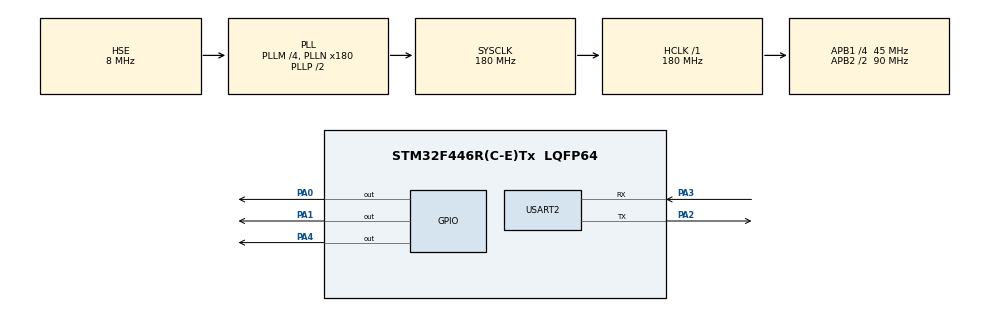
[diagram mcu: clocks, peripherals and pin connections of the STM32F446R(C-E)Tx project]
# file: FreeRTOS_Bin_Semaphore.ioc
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FREERTOS.BinarySemaphores01=myBinarySem01,Dynamic,NULL
FREERTOS.Tasks01=myTask1,2,128,StartTask1,Default,NULL,Dynamic,NULL,NULL;myTask2,0,128,StartTask2,Default,NULL,Dynamic,NULL,NULL;myTask3,-2,128,StartTask3,Default,NULL,Dynamic,NULL,NULL
FREERTOS.configUSE_NEWLIB_REENTRANT=1
Mcu.Family=STM32F4
Mcu.Name=STM32F446R(C-E)Tx
Mcu.Package=LQFP64
NVIC.PriorityGroup=NVIC_PRIORITYGROUP_4
NVIC.TIM6_DAC_IRQn=true\:15\:0\:false\:false\:true\:false\:false\:true\:true
NVIC.TimeBase=TIM6_DAC_IRQn
NVIC.TimeBaseIP=TIM6
PA0-WKUP.Signal=GPIO_Output
PA1.Signal=GPIO_Output
PA13.Mode=Serial_Wire
PA13.Signal=SYS_JTMS-SWDIO
PA14.Mode=Serial_Wire
PA14.Signal=SYS_JTCK-SWCLK
PA2.Mode=Asynchronous
PA2.Signal=USART2_TX
PA3.Mode=Asynchronous
PA3.Signal=USART2_RX
PA4.Signal=GPIO_Output
PH0-OSC_IN.Mode=HSE-External-Oscillator
PH0-OSC_IN.Signal=RCC_OSC_IN
PH1-OSC_OUT.Mode=HSE-External-Oscillator
PH1-OSC_OUT.Signal=RCC_OSC_OUT
ProjectManager.HeapSize=0x200
ProjectManager.StackSize=0x400
ProjectManager.TargetToolchain=STM32CubeIDE
RCC.48MHZClocksFreq_Value=84000000
RCC.AHBFreq_Value=180000000
RCC.APB1CLKDivider=RCC_HCLK_DIV4
RCC.APB1Freq_Value=45000000
RCC.APB1TimFreq_Value=90000000
RCC.APB2CLKDivider=RCC_HCLK_DIV2
RCC.APB2Freq_Value=90000000
RCC.APB2TimFreq_Value=180000000
RCC.CortexFreq_Value=180000000
RCC.FLatency-AdvancedSettings=FLASH_LATENCY_5
RCC.HCLKFreq_Value=180000000
RCC.HSE_VALUE=8000000
RCC.HSI_VALUE=16000000
RCC.PLLM=4
RCC.PLLN=180
RCC.PLLSourceVirtual=RCC_PLLSOURCE_HSE
RCC.SYSCLKFreq_VALUE=180000000
RCC.SYSCLKSource=RCC_SYSCLKSOURCE_PLLCLK
RCC.USBFreq_Value=180000000
RCC.VCOOutputFreq_Value=360000000
USART2.VirtualMode=VM_ASYNC
VP_FREERTOS_VS_CMSIS_V1.Mode=CMSIS_V1
VP_SYS_VS_tim6.Mode=TIM6
board=NUCLEO-F446RE

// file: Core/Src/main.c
/* USER CODE BEGIN Header */
/**
  ******************************************************************************
  * @file           : main.c
  * @brief          : Main program body
  ******************************************************************************
  * @attention
  *
  * Copyright (c) 2024 STMicroelectronics.
  * All rights reserved.
  *
  * This software is licensed under terms that can be found in the LICENSE file
  * in the root directory of this software component.
  * If no LICENSE file comes with this software, it is provided AS-IS.
  *
  ******************************************************************************
  */
/* USER CODE END Header */
#include "main.h"
#include "cmsis_os.h"

/* USER CODE BEGIN Includes */
#include <string.h>
/* USER CODE END Includes */

UART_HandleTypeDef huart2;

osThreadId myTask1Handle;
osThreadId myTask2Handle;
osThreadId myTask3Handle;
osSemaphoreId myBinarySem01Handle;

void SystemClock_Config(void);
static void MX_GPIO_Init(void);
static void MX_USART2_UART_Init(void);
void StartTask1(void const * argument);
void StartTask2(void const * argument);
void StartTask3(void const * argument);

int main(void)
{

  /* MCU Configuration--------------------------------------------------------*/

  /* Reset of all peripherals, Initializes the Flash interface and the Systick. */
  HAL_Init();

  /* Configure the system clock */
  SystemClock_Config();

  /* Initialize all configured peripherals */
  MX_GPIO_Init();
  MX_USART2_UART_Init();

  /* Create the semaphores(s) */
  /* definition and creation of myBinarySem01 */
  osSemaphoreDef(myBinarySem01);
  myBinarySem01Handle = osSemaphoreCreate(osSemaphore(myBinarySem01), 1);

  /* Create the thread(s) */
  /* definition and creation of myTask1 */
  osThreadDef(myTask1, StartTask1, osPriorityHigh, 0, 128);
  myTask1Handle = osThreadCreate(osThread(myTask1), NULL);

  /* definition and creation of myTask2 */
  osThreadDef(myTask2, StartTask2, osPriorityNormal, 0, 128);
  myTask2Handle = osThreadCreate(osThread(myTask2), NULL);

  /* definition and creation of myTask3 */
  osThreadDef(myTask3, StartTask3, osPriorityLow, 0, 128);
  myTask3Handle = osThreadCreate(osThread(myTask3), NULL);

  /* Start scheduler */
  osKernelStart();
  /* We should never get here as control is now taken by the scheduler */
  /* Infinite loop */
  while (1)
  {

  }
}

void SystemClock_Config(void)
{
  RCC_OscInitTypeDef RCC_OscInitStruct = {0};
  RCC_ClkInitTypeDef RCC_ClkInitStruct = {0};

  /** Configure the main internal regulator output voltage
  */
  __HAL_RCC_PWR_CLK_ENABLE();
  __HAL_PWR_VOLTAGESCALING_CONFIG(PWR_REGULATOR_VOLTAGE_SCALE1);

  /** Initializes the RCC Oscillators according to the specified parameters
  * in the RCC_OscInitTypeDef structure.
  */
  RCC_OscInitStruct.OscillatorType = RCC_OSCILLATORTYPE_HSE;
  RCC_OscInitStruct.HSEState = RCC_HSE_ON;
  RCC_OscInitStruct.PLL.PLLState = RCC_PLL_ON;
  RCC_OscInitStruct.PLL.PLLSource = RCC_PLLSOURCE_HSE;
  RCC_OscInitStruct.PLL.PLLM = 4;
  RCC_OscInitStruct.PLL.PLLN = 180;
  RCC_OscInitStruct.PLL.PLLP = RCC_PLLP_DIV2;
  RCC_OscInitStruct.PLL.PLLQ = 2;
  RCC_OscInitStruct.PLL.PLLR = 2;
  if (HAL_RCC_OscConfig(&RCC_OscInitStruct) != HAL_OK)
  {
    Error_Handler();
  }

  /** Activate the Over-Drive mode
  */
  if (HAL_PWREx_EnableOverDrive() != HAL_OK)
  {
    Error_Handler();
  }

  /** Initializes the CPU, AHB and APB buses clocks
  */
  RCC_ClkInitStruct.ClockType = RCC_CLOCKTYPE_HCLK|RCC_CLOCKTYPE_SYSCLK
                              |RCC_CLOCKTYPE_PCLK1|RCC_CLOCKTYPE_PCLK2;
  RCC_ClkInitStruct.SYSCLKSource = RCC_SYSCLKSOURCE_PLLCLK;
  RCC_ClkInitStruct.AHBCLKDivider = RCC_SYSCLK_DIV1;
  RCC_ClkInitStruct.APB1CLKDivider = RCC_HCLK_DIV4;
  RCC_ClkInitStruct.APB2CLKDivider = RCC_HCLK_DIV2;

  if (HAL_RCC_ClockConfig(&RCC_ClkInitStruct, FLASH_LATENCY_5) != HAL_OK)
  {
    Error_Handler();
  }
}

static void MX_USART2_UART_Init(void)
{

  huart2.Instance = USART2;
  huart2.Init.BaudRate = 115200;
  huart2.Init.WordLength = UART_WORDLENGTH_8B;
  huart2.Init.StopBits = UART_STOPBITS_1;
  huart2.Init.Parity = UART_PARITY_NONE;
  huart2.Init.Mode = UART_MODE_TX_RX;
  huart2.Init.HwFlowCtl = UART_HWCONTROL_NONE;
  huart2.Init.OverSampling = UART_OVERSAMPLING_16;
  if (HAL_UART_Init(&huart2) != HAL_OK)
  {
    Error_Handler();
  }

}

static void MX_GPIO_Init(void)
{
  GPIO_InitTypeDef GPIO_InitStruct = {0};

  /* GPIO Ports Clock Enable */
  __HAL_RCC_GPIOH_CLK_ENABLE();
  __HAL_RCC_GPIOA_CLK_ENABLE();

  /*Configure GPIO pin Output Level */
  HAL_GPIO_WritePin(GPIOA, GPIO_PIN_0|GPIO_PIN_1|GPIO_PIN_4, GPIO_PIN_RESET);

  /*Configure GPIO pins : PA0 PA1 PA4 */
  GPIO_InitStruct.Pin = GPIO_PIN_0|GPIO_PIN_1|GPIO_PIN_4;
  GPIO_InitStruct.Mode = GPIO_MODE_OUTPUT_PP;
  GPIO_InitStruct.Pull = GPIO_NOPULL;
  GPIO_InitStruct.Speed = GPIO_SPEED_FREQ_LOW;
  HAL_GPIO_Init(GPIOA, &GPIO_InitStruct);

}

void StartTask1(void const * argument)
{
  /* USER CODE BEGIN 5 */

  /* Infinite loop */
  for(;;)
  {
	  char *str = "Enter Task 1 and trying to acquire semaphore\n\n";
	  HAL_UART_Transmit(&huart2,(uint8_t *) str, strlen(str), HAL_MAX_DELAY);
	  osDelay(100);
	  osSemaphoreWait(myBinarySem01Handle, osWaitForever);
	  char *str1 = "Semaphore acquired by Task 1\n\n";
	  HAL_UART_Transmit(&huart2,(uint8_t *) str1, strlen(str1), HAL_MAX_DELAY);
	  osDelay(100);
	  char *str2 = "Leaving Task 1 and releasing Semaphore\n\n";
	  HAL_UART_Transmit(&huart2, (uint8_t *) str2, strlen (str2), 100);
	  osSemaphoreRelease(myBinarySem01Handle);
	  osDelay(100);
  }
  /* USER CODE END 5 */
}

void StartTask2(void const * argument)
{
  /* USER CODE BEGIN StartTask2 */

  /* Infinite loop */
  for(;;)
  {
	  char *str = "Enter Task 2 and Run the task inside task 2\n\n";
	  HAL_UART_Transmit(&huart2,(uint8_t *) str, strlen(str), HAL_MAX_DELAY);
	  osDelay(100);
	  char *str2 = "Leaving Task 2 \n\n";
	  HAL_UART_Transmit(&huart2, (uint8_t *) str2, strlen (str2), 100);
	 osDelay(100);
  }
  /* USER CODE END StartTask2 */
}

void StartTask3(void const * argument)
{
  /* USER CODE BEGIN StartTask3 */

  /* Infinite loop */
  for(;;)
  {
	  char *str1 = "Enter Low task and waiting for Semaphore\r\n";
	  HAL_UART_Transmit(&huart2,(uint8_t *) str1, strlen(str1), HAL_MAX_DELAY);
	  osDelay(100);
	  osSemaphoreWait(myBinarySem01Handle, osWaitForever);
	  char *str2 = "Semaphore acquired by Low Task 3 \r\n";
	  HAL_UART_Transmit(&huart2,(uint8_t *) str2, strlen(str2), HAL_MAX_DELAY);
	  osDelay(100);
	 // while(HAL_GPIO_ReadPin(GPIOC, GPIO_PIN_13));
	  osSemaphoreRelease(myBinarySem01Handle);
	  char *str3 = "Releasing Semaphore by low task3 \r\n";
	  HAL_UART_Transmit(&huart2,(uint8_t *) str3, strlen(str3), HAL_MAX_DELAY);
	  osDelay(100);
  }
  /* USER CODE END StartTask3 */
}

void HAL_TIM_PeriodElapsedCallback(TIM_HandleTypeDef *htim)
{
  if (htim->Instance == TIM6) {
    HAL_IncTick();
  }
}

void Error_Handler(void)
{
  __disable_irq();
  while (1)
  {
  }
}
